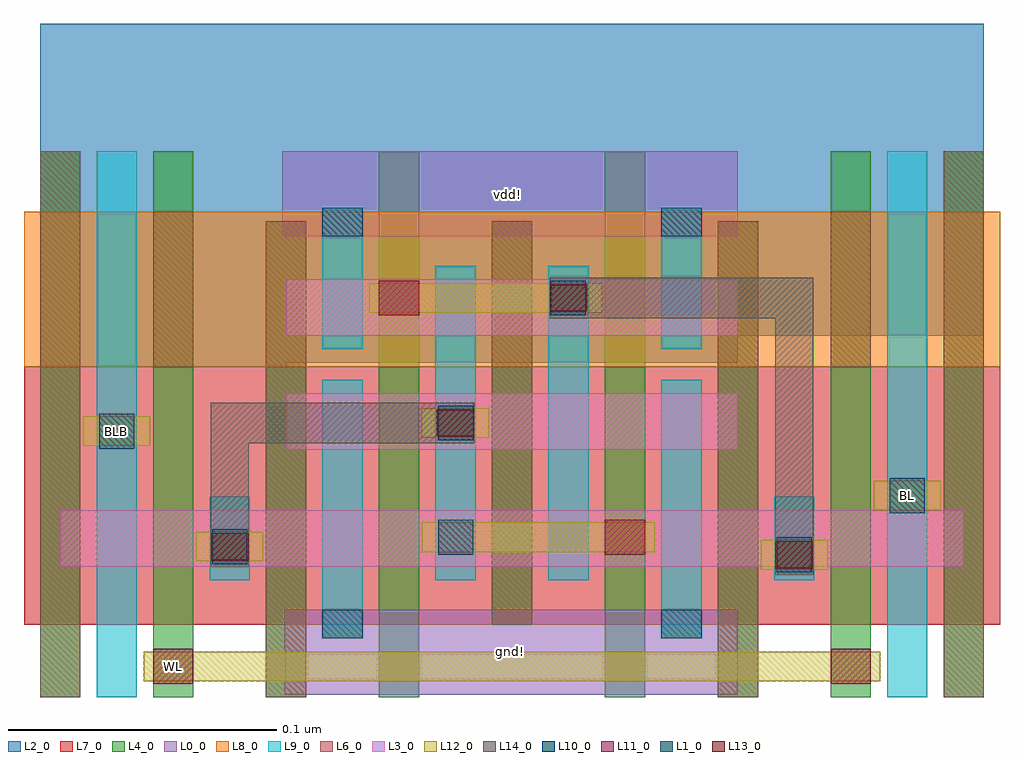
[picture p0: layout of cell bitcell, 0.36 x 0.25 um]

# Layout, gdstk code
from math import pi, radians
import gdstk
lib = gdstk.Library(unit=1e-6, precision=5e-10)
def R(c, l, rs):  # rectangles x0, y0, x1, y1
    for r in rs: c.add(gdstk.rectangle(r[:2], r[2:], *l))
def A(c, l, x, y, w, h, nx, ny, dx, dy):  # array of equal rectangles
    R(c, l, [(x+i*dx, y+j*dy, x+i*dx+w, y+j*dy+h) for i in range(nx) for j in range(ny)])
L0_0 = (0, 0)
L1_0 = (1, 0)
L2_0 = (2, 0)
L3_0 = (3, 0)
L4_0 = (4, 0)
L6_0 = (6, 0)
L7_0 = (7, 0)
L8_0 = (8, 0)
L9_0 = (9, 0)
L10_0 = (10, 0)
L11_0 = (11, 0)
L12_0 = (12, 0)
L13_0 = (13, 0)
L14_0 = (14, 0)

nmos = lib.new_cell('nmos')
R(nmos, L3_0, [(-0.042,-0.0105,0.042,0.0105)])
A(nmos, L4_0, -0.0495, -0.032, 0.015, 0.064, 3, 1, 0.042, 0)
R(nmos, L7_0, [(-0.0555,-0.021,0.0555,0.0205)])
R(nmos, L9_0, [(-0.0285,-0.0155,-0.0135,0.0155), (0.0135,-0.0155,0.0285,0.0155)])

pmos = lib.new_cell('pmos')
R(pmos, L2_0, [(-0.042,-0.0205,0.042,0.0205)])
R(pmos, L3_0, [(-0.042,-0.0105,0.042,0.0105)])
A(pmos, L4_0, -0.0495, -0.032, 0.015, 0.064, 3, 1, 0.042, 0)
R(pmos, L8_0, [(-0.0555,-0.0205,0.0555,0.0205)])
R(pmos, L9_0, [(-0.0285,-0.0155,-0.0135,0.0155), (0.0135,-0.0155,0.0285,0.0155)])

gate_m0b = lib.new_cell('GATE_M0B')
R(gate_m0b, L4_0, [(-0.0075,-0.0115,0.0075,0.0115)])
R(gate_m0b, L11_0, [(-0.0075,-0.0065,0.0075,0.0065)])
R(gate_m0b, L12_0, [(-0.011,-0.0055,0.011,0.0055)])

bpr_m0a = lib.new_cell('BPR_M0A')
R(bpr_m0a, L0_0, [(-0.021,-0.0055,0.021,0.026)])
R(bpr_m0a, L1_0, [(-0.0075,-0.0055,0.0075,0.005)])
R(bpr_m0a, L9_0, [(-0.0075,-0.0165,0.0075,0.005)])

m0b_m1 = lib.new_cell('M0B_M1')
R(m0b_m1, L12_0, [(-0.011,-0.005,0.011,0.005)])
R(m0b_m1, L13_0, [(-0.007,-0.005,0.007,0.005)])
R(m0b_m1, L14_0, [(-0.007,-0.0075,0.007,0.0075)])

m0a_m0b = lib.new_cell('M0A_M0B')
R(m0a_m0b, L9_0, [(-0.0075,-0.0055,0.0075,0.0055)])
R(m0a_m0b, L10_0, [(-0.0065,-0.0065,0.0065,0.0065)])
R(m0a_m0b, L12_0, [(-0.0125,-0.0055,0.0125,0.0055)])

bitcell = lib.new_cell('bitcell')
R(bitcell, L0_0, [(-0.0425,-0.1015,0.126,-0.07), (-0.0425,-0.1015,0.126,-0.07), (-0.0435,0.069,0.125,0.1005), (-0.0435,0.069,0.125,0.1005), (-0.0425,0.0965,-0.042,0.1005)])
R(bitcell, L2_0, [(-0.1335,0.0205,-0.0555,0.078), (-0.0555,0.0205,-0.042,0.078), (0.126,0.032,0.2175,0.078), (0.126,0.032,0.162,0.073), (-0.042,0.0615,0.126,0.078), (0.126,0.073,0.162,0.078), (-0.1335,0.078,0.2175,0.148)])
A(bitcell, L4_0, -0.1335, -0.1025, 0.015, 0.027, 4, 1, 0.042, 0)
A(bitcell, L4_0, -0.0915, 0.0745, 0.015, 0.026, 3, 1, 0.084, 0)
R(bitcell, L4_0, [(0.0765,-0.1025,0.0915,-0.1015), (0.1185,-0.1025,0.1335,-0.0755), (0.2025,-0.1025,0.2175,-0.0755), (0.0765,-0.1015,0.0915,-0.0755), (0.1605,-0.0965,0.1755,-0.0755), (0.2025,-0.012,0.2175,0.1005), (-0.1335,-0.0115,-0.1185,0.1005), (-0.0915,-0.0115,-0.0765,0.0745), (0.1605,-0.0115,0.1755,0.1005)])
A(bitcell, L6_0, -0.0495, -0.0755, 0.015, 0.002, 3, 1, 0.084, 0)
A(bitcell, L6_0, -0.0495, -0.0735, 0.015, 0.1465, 3, 1, 0.084, 0)
A(bitcell, L6_0, -0.0495, 0.073, 0.015, 0.0015, 3, 1, 0.084, 0)
R(bitcell, L6_0, [(-0.1335,-0.1025,-0.1185,-0.0755), (-0.0495,-0.1025,-0.0345,-0.0755), (0.1185,-0.1025,0.1335,-0.0755), (0.2025,-0.1025,0.2175,-0.0755), (-0.1335,-0.0755,-0.1185,-0.0115), (0.2025,-0.0755,0.2175,-0.0115), (-0.1335,-0.0115,-0.1185,0.1005), (0.2025,-0.0115,0.2175,0.1005), (-0.0915,0.0205,-0.0765,0.078), (0.1605,0.0205,0.1755,0.078)])
R(bitcell, L7_0, [(-0.1395,-0.0755,-0.0285,-0.0645), (-0.0555,-0.0755,0.1395,-0.0735), (0.1395,-0.0755,0.2235,-0.0645), (-0.0555,-0.0735,0.1395,-0.0625), (-0.042,-0.059,0.126,-0.054), (-0.1395,-0.023,-0.0555,-0.0115), (-0.0555,-0.023,0.1395,-0.021), (0.1395,-0.023,0.2235,-0.0115), (-0.1395,-0.0115,-0.0555,0.0205), (0.1395,-0.0115,0.2235,0.0205)])
R(bitcell, L8_0, [(-0.1395,0.0205,-0.0555,0.078), (-0.0555,0.0205,0.1395,0.032), (0.1395,0.0205,0.2235,0.078), (-0.0555,0.0615,0.1395,0.073), (-0.0555,0.073,0.1395,0.078)])
A(bitcell, L9_0, -0.0285, -0.028, 0.015, 0.002, 4, 1, 0.042, 0)
A(bitcell, L9_0, -0.0285, -0.026, 0.015, 0.0105, 4, 1, 0.042, 0)
R(bitcell, L9_0, [(-0.1125,-0.1025,-0.0975,-0.059), (0.1815,-0.1025,0.1965,-0.059), (-0.1125,-0.028,-0.0975,-0.009), (0.1815,-0.028,0.1965,-0.02), (0.1815,-0.02,0.1965,0.0745), (-0.1125,-0.0075,-0.0975,0.0055), (-0.1125,0.0055,-0.0975,0.1005), (0.0135,0.0155,0.0285,0.0255), (0.0555,0.0155,0.0705,0.0255), (0.0135,0.0255,0.0285,0.027), (0.0555,0.0255,0.0705,0.027), (0.1815,0.0745,0.1965,0.1005)])
R(bitcell, L12_0, [(-0.095,-0.0965,-0.073,-0.0855), (-0.095,-0.0965,0.179,-0.0855), (0.0085,-0.0485,0.095,-0.0375), (0.1765,-0.033,0.2015,-0.022), (-0.1175,-0.009,-0.0925,0.002), (-0.011,0.0405,0.0755,0.0515)])
R(bitcell, L14_0, [(-0.07,-0.054,-0.056,0.007), (0.14,-0.042,0.154,-0.0375), (0.14,-0.0375,0.154,0.039), (-0.07,-0.008,0.028,0.007), (0.056,0.0385,0.154,0.0535)])
bitcell.add(gdstk.Reference(nmos, (0.168,-0.0435)))
bitcell.add(gdstk.Reference(nmos, (-0.084,-0.0435)))
bitcell.add(gdstk.Reference(nmos, (0.084,-0.0435)))
bitcell.add(gdstk.Reference(nmos, (0,-0.0435)))
bitcell.add(gdstk.Reference(nmos, (0.084,0)))
bitcell.add(gdstk.Reference(nmos, (0,0)))
bitcell.add(gdstk.Reference(pmos, (0.084,0.0425)))
bitcell.add(gdstk.Reference(pmos, (0,0.0425)))
bitcell.add(gdstk.Reference(gate_m0b, (0.168,-0.091)))
bitcell.add(gdstk.Reference(gate_m0b, (-0.084,-0.091)))
bitcell.add(gdstk.Reference(gate_m0b, (0.084,-0.043)))
bitcell.add(gdstk.Reference(gate_m0b, (0,0.046)))
bitcell.add(gdstk.Reference(bpr_m0a, (0.105,0.0745)))
bitcell.add(gdstk.Reference(bpr_m0a, (-0.021,0.0745)))
bitcell.add(gdstk.Reference(bpr_m0a, (0.105,-0.0755), rotation=pi))
bitcell.add(gdstk.Reference(bpr_m0a, (-0.021,-0.0755), rotation=pi))
bitcell.add(gdstk.Reference(m0b_m1, (0.063,0.046)))
bitcell.add(gdstk.Reference(m0b_m1, (0.021,-0.0005)))
bitcell.add(gdstk.Reference(m0b_m1, (-0.063,-0.0465)))
bitcell.add(gdstk.Reference(m0b_m1, (0.147,-0.0495)))
bitcell.add(gdstk.Reference(m0a_m0b, (0.189,-0.0275)))
bitcell.add(gdstk.Reference(m0a_m0b, (-0.105,-0.0035)))
bitcell.add(gdstk.Reference(m0a_m0b, (-0.063,-0.0465)))
bitcell.add(gdstk.Reference(m0a_m0b, (0.021,-0.0005)))
bitcell.add(gdstk.Reference(m0a_m0b, (0.021,-0.043)))
bitcell.add(gdstk.Reference(m0a_m0b, (0.063,0.046)))
bitcell.add(gdstk.Reference(m0a_m0b, (0.147,-0.0495)))
bitcell.add(gdstk.Label('BLB', (-0.105,-0.0035), layer=12, texttype=0))
bitcell.add(gdstk.Label('BL', (0.189,-0.0275), layer=12, texttype=0))
bitcell.add(gdstk.Label('WL', (-0.084,-0.091), layer=12, texttype=0))
bitcell.add(gdstk.Label('vdd!', (0.0405,0.0845), layer=0, texttype=0))
bitcell.add(gdstk.Label('gnd!', (0.0415,-0.0855), layer=0, texttype=0))

lib.write_gds('bitcell.gds')
